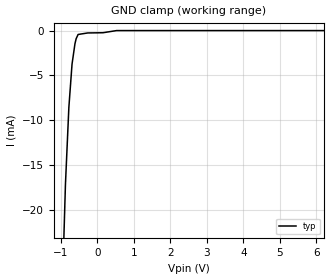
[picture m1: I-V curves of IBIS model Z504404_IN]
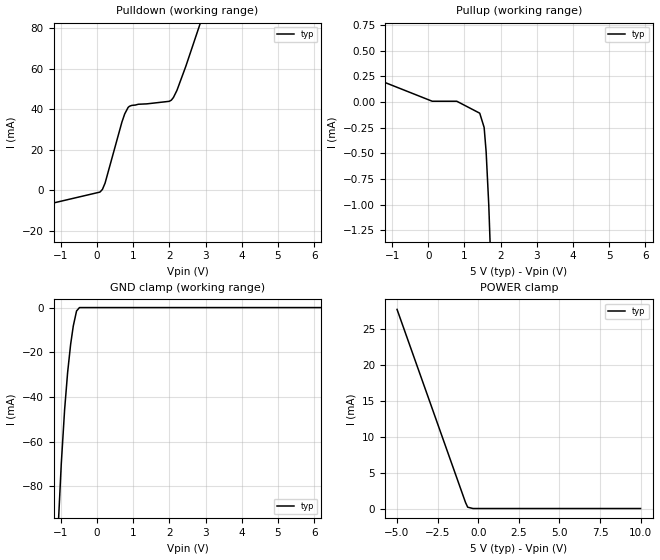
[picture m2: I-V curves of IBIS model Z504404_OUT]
| YOU ARE ONLY AUTHORIZED TO USE THIS SOFTWARE
| ACCORDING TO LICENSOR'S LICENSE RESTRICTIONS.
[IBIS Ver] 3.1
[File Name] sn54ls190j.ibs
[File Rev] 2.0
[Source] Measured and created by ICX Technology
[Date] Friday 7/14/00 9:08:14 AM
[Copyright]
| (C) COPYRIGHT 1993-2000
| MENTOR GRAPHICS CORPORATION
| ICX STANDARD LIBRARY, ICX PROJECT MODELING,
| ICX CUSTOM MODELING, ICX VENDOR MODEL
| ALL RIGHTS RESERVED.
| THE FOLLOWING ARE TRADEMARKS OR SERVICE MARKS OF
| MENTOR GRAPHICS CORPORATION:ICX (R), ICX STANDARD
| LIBRARY(R), ICX PROJECT MODELING(R), ICX CUSTOM
| MODELING(R), qualityIBIS(TM), MODELVIEWER(TM),
| AND MODELEDITOR(TM)
| ALL COPIES OF SOFTWARE, INCLUDING BUT NOT LIMITED TO
| ANY MODIFICATIONS, ENHANCEMENTS OR DERIVATIVE WORKS,
| MUST CONTAIN ALL MENTOR GRAPHICS CORPORATION'S
| NOTICES AND LEGENDS, INCLUDING THOSE EMBEDDED IN
| SOFTWARE AND THOSE AFFIXED TO SOFTWARE MEDIUM
| AND CONTAINER, AS RECEIVED FROM MENTOR GRAPHICS
| CORPORATION.
|  ZAP Model Builder 2.7
[Component] SN54LS190J
[Manufacturer] OnSemiconductor
[Package]
| variable   typ   min   max
R_pkg  .212ohms NA NA
L_pkg  4.758nH NA NA
C_pkg  1.944pF NA NA
[Pin] signal_name  model_name  R_pin  L_pin C_pin
1 B Z504404_IN .224 7.258n 2.683p
2 QB Z504404_OUT .216 5.258n 2.19p
3 QA Z504404_OUT .208 3.758n 1.697p
4 _CTEN Z504404_IN .2 2.758n 1.204p
5 D_U Z504404_IN .2 2.758n 1.204p
6 QC Z504404_OUT .208 3.758n 1.697p
7 QD Z504404_OUT .216 5.258n 2.19p
8 GND GND .224 7.258n 2.683p
9 D Z504404_IN .224 7.258n 2.683p
10 C Z504404_IN .216 5.258n 2.19p
11 _LOAD Z504404_IN .208 3.758n 1.697p
12 MAX_MIN Z504404_OUT .2 2.758n 1.204p
13 _RCO Z504404_OUT .2 2.758n 1.204p
14 CLK Z504404_IN .208 3.758n 1.697p
15 A Z504404_IN .216 5.258n 2.19p
16 VCC POWER .224 7.258n 2.683p
| Models and submodels in the file (2): Z504404_IN (Input), Z504404_OUT (Output)
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| (C) COPYRIGHT 1993-2000
| MENTOR GRAPHICS CORPORATION
| ICX STANDARD LIBRARY, ICX PROJECT MODELING,
| ICX CUSTOM MODELING, ICX VENDOR MODEL
| ALL RIGHTS RESERVED.
| THE FOLLOWING ARE TRADEMARKS OR SERVICE MARKS OF
| MENTOR GRAPHICS CORPORATION:ICX (R), ICX STANDARD
| LIBRARY(R), ICX PROJECT MODELING(R), ICX CUSTOM
| MODELING(R), qualityIBIS(TM), MODELVIEWER(TM),
| AND MODELEDITOR(TM)
| ALL COPIES OF SOFTWARE, INCLUDING BUT NOT LIMITED TO
| ANY MODIFICATIONS, ENHANCEMENTS OR DERIVATIVE WORKS,
| MUST CONTAIN ALL MENTOR GRAPHICS CORPORATION'S
| NOTICES AND LEGENDS, INCLUDING THOSE EMBEDDED IN
| SOFTWARE AND THOSE AFFIXED TO SOFTWARE MEDIUM
| AND CONTAINER, AS RECEIVED FROM MENTOR GRAPHICS
| CORPORATION.
| Model Application Version 1.89 2/18/99.
[Model] Z504404_IN
Model_type Input
Vinl = 800.0mV
Vinh = 2.000V
C_comp 4.000pF NA NA
| variable typ   min   max
[Voltage Range] 5.000V NA NA
[GND Clamp Reference] 0.000V NA NA
[POWER Clamp Reference] 5.000V NA NA
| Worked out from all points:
|   GND clamp passes 1 mA (typ) near -0.59 V on its own axis
[GND Clamp]
-5V       -587.5mA   NA         NA
-873.6mV  -17.18mA   NA         NA
-780.1mV  -8.579mA   NA         NA
-693.2mV  -3.747mA   NA         NA
-613.2mV  -1.465mA   NA         NA
-580.9mV  -904.8uA   NA         NA
-527.3mV  -426.7uA   NA         NA
-263.7mV  -257.3uA   NA         NA
155.1mV   -231.8uA   NA         NA
527.2mV   8.721uA    NA         NA
10V       8.721uA    NA         NA
[POWER Clamp]
-5V       0A         NA         NA
10V       0A         NA         NA
| (C) COPYRIGHT 1993-2000
| MENTOR GRAPHICS CORPORATION
| ICX STANDARD LIBRARY, ICX PROJECT MODELING,
| ICX CUSTOM MODELING, ICX VENDOR MODEL
| ALL RIGHTS RESERVED.
| THE FOLLOWING ARE TRADEMARKS OR SERVICE MARKS OF
| MENTOR GRAPHICS CORPORATION:ICX (R), ICX STANDARD
| LIBRARY(R), ICX PROJECT MODELING(R), ICX CUSTOM
| MODELING(R), qualityIBIS(TM), MODELVIEWER(TM),
| AND MODELEDITOR(TM)
| ALL COPIES OF SOFTWARE, INCLUDING BUT NOT LIMITED TO
| ANY MODIFICATIONS, ENHANCEMENTS OR DERIVATIVE WORKS,
| MUST CONTAIN ALL MENTOR GRAPHICS CORPORATION'S
| NOTICES AND LEGENDS, INCLUDING THOSE EMBEDDED IN
| SOFTWARE AND THOSE AFFIXED TO SOFTWARE MEDIUM
| AND CONTAINER, AS RECEIVED FROM MENTOR GRAPHICS
| CORPORATION.
| Model Application Version 1.89 2/18/99.
[Model] Z504404_OUT
Model_type Output
Vref=5.000V
Rref=2.000kohms
Cref=15.00pF
Vmeas=1.300V
C_comp 8.000pF NA NA
| variable typ   min   max
[Voltage Range] 5.000V NA NA
[POWER Clamp Reference] 5.000V NA NA
[Pullup Reference] 5.000V NA NA
[Pulldown Reference] 0.000V NA NA
[GND Clamp Reference] 0.000V NA NA
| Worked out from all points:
|   slope of the pulldown table from 0 to 0.75 V, typ, clamps not added: 19.7 ohm
|   slope of the pullup table from 0 to 0.75 V, typ, clamps not added: 49.9 kohm
|   GND clamp passes 1 mA (typ) near -0.54 V on its own axis
[GND Clamp]
-5V       -1.642A    NA         NA
-1.089V   -104.1mA   NA         NA
-985.4mV  -69.88mA   NA         NA
-893.5mV  -45.68mA   NA         NA
-810.5mV  -29.07mA   NA         NA
-727.5mV  -16.49mA   NA         NA
-654.1mV  -8.251mA   NA         NA
-564.1mV  -1.54mA    NA         NA
-483.5mV  0A         NA         NA
10V       0A         NA         NA
[Pulldown]
-5V       -22.18mA   NA         NA
87.89mV   -839.3uA   NA         NA
151.4mV   401.6uA    NA         NA
224.6mV   3.519mA    NA         NA
688.7mV   33.57mA    NA         NA
766.6mV   37.64mA    NA         NA
860.4mV   40.84mA    NA         NA
1.143V    42.41mA    NA         NA
2.056V    44.45mA    NA         NA
2.211V    49.3mA     NA         NA
2.456V    61.18mA    NA         NA
10V       462.3mA    NA         NA
[Pullup]
-5V       721.7uA    NA         NA
107.5mV   8.103uA    NA         NA
786mV     8.103uA    NA         NA
1.421V    -108.5uA   NA         NA
1.543V    -247.6uA   NA         NA
1.598V    -484.9uA   NA         NA
1.671V    -1.005mA   NA         NA
10V       -84.29mA   NA         NA
[POWER Clamp]
-5V       27.8mA     NA         NA
-781mV    836.8uA    NA         NA
-648mV    187.4uA    NA         NA
-324mV    0A         NA         NA
10V       0A         NA         NA
[Ramp]
| variable typ min max
dV/dt_r 1.644/7.649n NA NA
dV/dt_f 1.644/2.079n NA NA
R_load = 500.0Ohms
